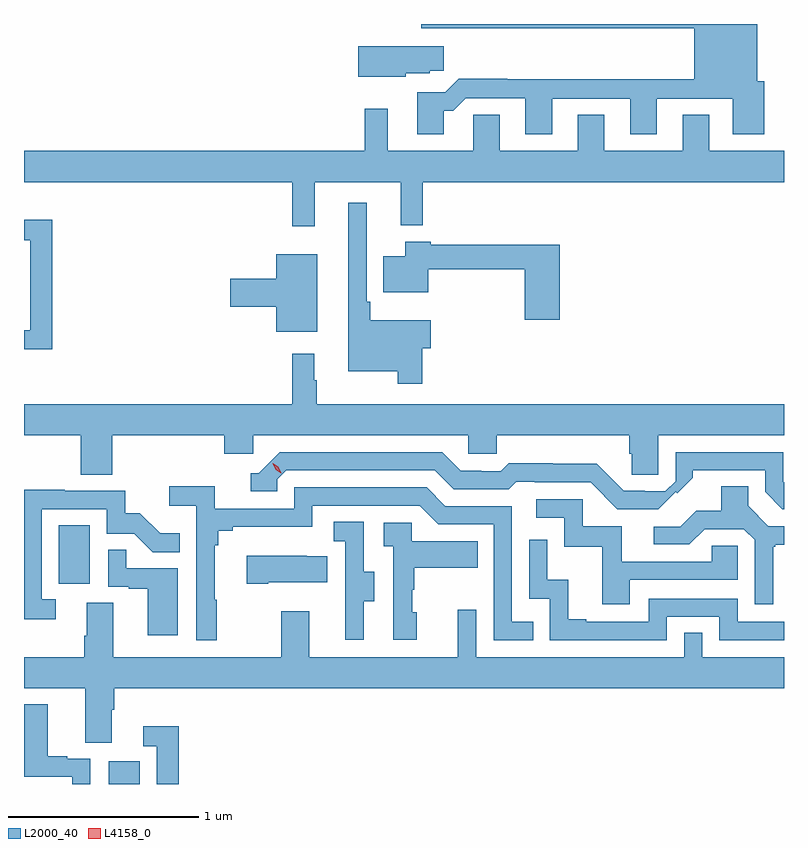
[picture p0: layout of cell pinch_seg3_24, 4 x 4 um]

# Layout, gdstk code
import gdstk
lib = gdstk.Library(unit=1e-6, precision=1e-09)
def R(c, l, rs):  # rectangles x0, y0, x1, y1
    for r in rs: c.add(gdstk.rectangle(r[:2], r[2:], *l))
def P(c, l, *ps):  # polygons
    for p in ps: c.add(gdstk.Polygon(p, *l))
L2000_40 = (2000, 40)
L4158_0 = (4158, 0)

pinch_seg3_24 = lib.new_cell('pinch_seg3_24')
R(pinch_seg3_24, L2000_40, [(1114.19,731.048,1114.354,731.167), (1113.926,732.102,1114.09,732.409)])
P(pinch_seg3_24, L2000_40, [(1115.953,734.591),(1116.002,734.591),(1116.069,734.658),(1116.383,734.658),(1116.383,734.469),(1116.523,734.469),(1116.523,734.655),(1116.935,734.655),(1116.935,734.469),(1117.075,734.469),(1117.075,734.655),(1117.475,734.655),(1117.475,734.469),(1117.64,734.469),(1117.64,734.748),(1117.603,734.748),(1117.603,735.048),(1115.834,735.048),(1115.834,735.026),(1117.271,735.026),(1117.271,734.756),(1116.287,734.756),(1116.287,734.759),(1116.032,734.759),(1115.961,734.688),(1115.813,734.688),(1115.813,734.469),(1115.953,734.469)],
  [(1115.754,734.789),(1115.88,734.789),(1115.88,734.803),(1115.953,734.803),(1115.953,734.932),(1115.504,734.932),(1115.504,734.771),(1115.754,734.771)],
  [(1115.273,734.216),(1115.726,734.216),(1115.726,733.988),(1115.843,733.988),(1115.843,734.216),(1117.744,734.216),(1117.744,734.38),(1117.351,734.38),(1117.351,734.57),(1117.211,734.57),(1117.211,734.38),(1116.799,734.38),(1116.799,734.57),(1116.659,734.57),(1116.659,734.38),(1116.247,734.38),(1116.247,734.57),(1116.108,734.57),(1116.108,734.38),(1115.659,734.38),(1115.659,734.602),(1115.538,734.602),(1115.538,734.38),(1113.744,734.38),(1113.744,734.216),(1115.155,734.216),(1115.155,733.983),(1115.273,733.983)],
  [(1115.84,733.342),(1115.884,733.342),(1115.884,733.489),(1115.567,733.489),(1115.567,733.585),(1115.547,733.585),(1115.547,734.107),(1115.45,734.107),(1115.45,733.22),(1115.712,733.22),(1115.712,733.155),(1115.84,733.155)],
  [(1113.893,734.017),(1113.744,734.017),(1113.744,733.911),(1113.777,733.911),(1113.777,733.437),(1113.744,733.437),(1113.744,733.336),(1113.893,733.336)],
  [(1116.563,733.885),(1115.885,733.885),(1115.885,733.903),(1115.75,733.903),(1115.75,733.825),(1115.636,733.825),(1115.636,733.637),(1115.872,733.637),(1115.872,733.756),(1116.38,733.756),(1116.38,733.491),(1116.563,733.491)],
  [(1115.287,733.837),(1115.072,733.837),(1115.072,733.706),(1114.83,733.706),(1114.83,733.559),(1115.072,733.559),(1115.072,733.427),(1115.287,733.427)],
  [(1114.208,732.884),(1114.799,732.884),(1114.799,732.786),(1114.95,732.786),(1114.95,732.884),(1116.081,732.884),(1116.081,732.786),(1116.231,732.786),(1116.231,732.884),(1116.929,732.884),(1116.929,732.786),(1116.942,732.786),(1116.942,732.676),(1117.081,732.676),(1117.081,732.884),(1117.744,732.884),(1117.744,733.048),(1115.284,733.048),(1115.284,733.172),(1115.272,733.172),(1115.272,733.312),(1115.155,733.312),(1115.155,733.048),(1113.744,733.048),(1113.744,732.884),(1114.043,732.884),(1114.043,732.676),(1114.208,732.676)],
  [(1117.174,732.587),(1117.183,732.579),(1117.263,732.659),(1117.263,732.699),(1117.644,732.699),(1117.644,732.585),(1117.734,732.495),(1117.744,732.495),(1117.744,732.635),(1117.74,732.639),(1117.74,732.795),(1117.173,732.795),(1117.173,732.642),(1117.119,732.588),(1117.011,732.588),(1117.011,732.591),(1116.9,732.591),(1116.758,732.733),(1116.528,732.733),(1116.528,732.736),(1116.295,732.736),(1116.253,732.693),(1116.15,732.693),(1116.15,732.696),(1116.043,732.696),(1115.944,732.795),(1115.091,732.795),(1114.98,732.684),(1114.937,732.684),(1114.937,732.588),(1115.076,732.588),(1115.076,732.651),(1115.124,732.699),(1115.907,732.699),(1116.006,732.6),(1116.295,732.6),(1116.334,732.639),(1116.433,732.639),(1116.433,732.636),(1116.726,732.636),(1116.867,732.495),(1117.082,732.495)],
  [(1117.687,732.297),(1117.699,732.297),(1117.699,732.308),(1117.744,732.308),(1117.744,732.405),(1117.662,732.405),(1117.555,732.512),(1117.555,732.614),(1117.415,732.614),(1117.415,732.485),(1117.282,732.485),(1117.199,732.402),(1117.059,732.402),(1117.059,732.309),(1117.246,732.309),(1117.327,732.39),(1117.533,732.39),(1117.59,732.333),(1117.59,731.994),(1117.687,731.994)],
  [(1114.759,732.017),(1114.747,732.017),(1114.747,732.305),(1114.766,732.305),(1114.766,732.382),(1114.843,732.382),(1114.843,732.401),(1115.262,732.401),(1115.262,732.513),(1115.826,732.513),(1115.925,732.414),(1116.216,732.414),(1116.216,731.805),(1116.425,731.805),(1116.425,731.901),(1116.312,731.901),(1116.312,732.51),(1115.962,732.51),(1115.863,732.609),(1115.166,732.609),(1115.166,732.498),(1114.748,732.498),(1114.748,732.614),(1114.509,732.614),(1114.509,732.512),(1114.65,732.512),(1114.65,731.805),(1114.759,731.805)],
  [(1113.91,732.021),(1113.837,732.021),(1113.837,732.495),(1114.179,732.495),(1114.179,732.366),(1114.323,732.366),(1114.421,732.268),(1114.565,732.268),(1114.565,732.367),(1114.461,732.367),(1114.354,732.474),(1114.278,732.474),(1114.278,732.591),(1113.959,732.591),(1113.959,732.596),(1113.744,732.596),(1113.744,731.916),(1113.91,731.916)],
  [(1116.931,732.123),(1117.5,732.123),(1117.5,732.303),(1117.363,732.303),(1117.363,732.219),(1116.889,732.219),(1116.889,732.405),(1116.684,732.405),(1116.684,732.546),(1116.441,732.546),(1116.441,732.45),(1116.588,732.45),(1116.588,732.297),(1116.787,732.297),(1116.787,731.994),(1116.931,731.994)],
  [(1115.533,732.01),(1115.587,732.01),(1115.587,732.165),(1115.532,732.165),(1115.532,732.428),(1115.373,732.428),(1115.373,732.325),(1115.436,732.325),(1115.436,732.021),(1115.435,732.021),(1115.435,731.808),(1115.533,731.808)],
  [(1115.812,731.952),(1115.787,731.952),(1115.787,732.071),(1115.797,732.071),(1115.797,732.185),(1116.131,732.185),(1116.131,732.325),(1115.784,732.325),(1115.784,732.423),(1115.637,732.423),(1115.637,732.299),(1115.688,732.299),(1115.688,731.808),(1115.812,731.808)],
  [(1117.128,731.928),(1117.404,731.928),(1117.404,731.805),(1117.744,731.805),(1117.744,731.901),(1117.5,731.901),(1117.5,732.024),(1117.032,732.024),(1117.032,731.901),(1116.703,731.901),(1116.703,731.914),(1116.608,731.914),(1116.608,732.122),(1116.498,732.122),(1116.498,732.334),(1116.402,732.334),(1116.402,732.024),(1116.51,732.024),(1116.51,731.805),(1117.128,731.805)],
  [(1114.552,732.183),(1114.283,732.183),(1114.283,732.281),(1114.188,732.281),(1114.188,732.087),(1114.295,732.087),(1114.295,732.075),(1114.394,732.075),(1114.394,731.832),(1114.552,731.832)],
  [(1115.029,732.11),(1115.339,732.11),(1115.339,732.247),(1115.231,732.247),(1115.231,732.25),(1114.917,732.25),(1114.917,732.103),(1115.029,732.103)],
  [(1114.207,731.44),(1114.22,731.44),(1114.22,731.552),(1117.744,731.552),(1117.744,731.716),(1117.314,731.716),(1117.314,731.843),(1117.218,731.843),(1117.218,731.716),(1116.123,731.716),(1116.123,731.965),(1116.026,731.965),(1116.026,731.716),(1115.245,731.716),(1115.245,731.956),(1115.098,731.956),(1115.098,731.716),(1114.213,731.716),(1114.213,732.002),(1114.073,732.002),(1114.073,731.828),(1114.061,731.828),(1114.061,731.716),(1113.744,731.716),(1113.744,731.552),(1114.067,731.552),(1114.067,731.266),(1114.207,731.266)],
  [(1114.092,731.181),(1113.971,731.181),(1113.971,731.194),(1113.868,731.194),(1113.868,731.467),(1113.746,731.467),(1113.746,731.085),(1113.997,731.085),(1113.997,731.048),(1114.092,731.048)],
  [(1114.559,731.353),(1114.371,731.353),(1114.371,731.247),(1114.443,731.247),(1114.443,731.048),(1114.559,731.048)])
P(pinch_seg3_24, L4158_0, [(1115.099,732.684),(1115.068,732.703),(1115.052,732.736),(1115.052,732.736),(1115.052,732.736),(1115.083,732.717),(1115.099,732.684),(1115.099,732.684)])

lib.write_gds('pinch_seg3_24.gds')
